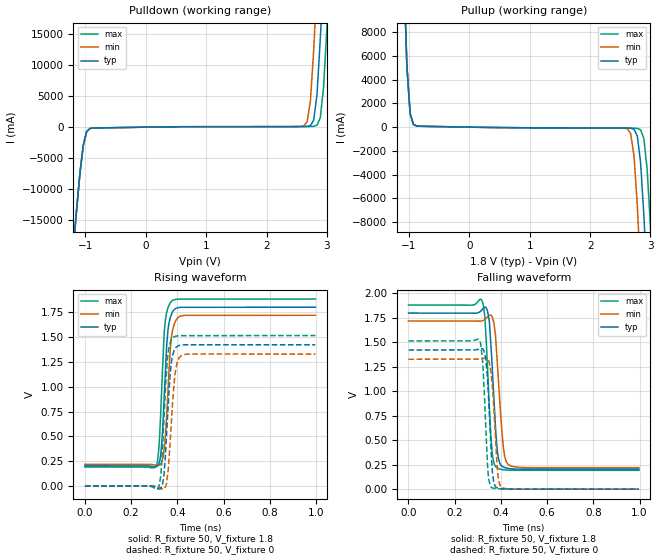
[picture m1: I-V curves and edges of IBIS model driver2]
| IBIS file inv_chain_tr100ps.ibs created by PYS2IBIS3
| Missouri S&T EMC Lab
[IBIS Ver] 7.1
[File Name] inv_chain_tr100ps.ibs
[File Rev] 1.0
[Date] Jul 27, 2026
[Source] Eight-stage inv_chain transistor model characterized with s2ibispy
[Notes] Parameter selection; sim_time=9.970e-10, tr=tf=1.000e-10.
[Component] invchain
[Manufacturer] s2ibispy study
[Package]
| variable   typ   min   max
R_pkg 0 NA NA
L_pkg 0H NA NA
C_pkg 0F NA NA
[Pin]  signal_name   model_name   R_pin   L_pin   C_pin
VSSQ   VSSQ   Gnd
VCCQ   VCCQ   Power
| IN IN dummy
PAD   PAD   driver2
| End of Component
| Models and submodels in the file (1): driver2 (Output)
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[Model] driver2
Model_type Output
Polarity Non-Inverting
Enable Active-High
Vinl  = 0.8V
Vinh  = 2V
C_comp 0.4680pF NA NA
[Temperature Range] 27.0000 27.0000 27.0000
[Voltage Range] 1.8000V 1.7000V 1.9000V
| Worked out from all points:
|   slope of the pulldown table from 0 to 0.27 V, typ, clamps not added: 6.79 ohm
|   slope of the pullup table from 0 to 0.27 V, typ, clamps not added: 12.6 ohm
|   rising waveform, R_fixture 50, V_fixture 1.8: 20-80 % time 20.6ps typ, 22.4ps min, 19.2ps max; typ from 0.204 V to 1.8 V
|   rising waveform, R_fixture 50, V_fixture 0: 20-80 % time 21.7ps typ, 23.4ps min, 20.6ps max; typ from 0 V to 1.42 V
|   falling waveform, R_fixture 50, V_fixture 1.8: 20-80 % time 22.9ps typ, 25.5ps min, 20.9ps max; typ from 1.8 V to 0.204 V
|   falling waveform, R_fixture 50, V_fixture 0: 20-80 % time 18.4ps typ, 20.1ps min, 17.3ps max; typ from 1.42 V to 0 V
[Pulldown]
| Voltage   I(typ)   I(min)   I(max)
-1.8V     -87.88A    -87.88A    -87.88A
-1.2V     -19.4A     -19.4A     -19.4A
-1.036V   -2.952A    -2.948A    -2.955A
-927.3mV  -221.8mA   -216.4mA   -227mA
2.618V    95.77mA    193.1mA    97.15mA
2.727V    244.8mA    4.224A     106.4mA
2.782V    1.151A     12.49A     132.5mA
2.836V    5.27A      23.04A     313.7mA
2.891V    14.25A     33.59A     1.533A
2.946V    24.81A     44.15A     6.464A
3V        35.36A     54.71A     16.02A
3.6V      151.5A     170.8A     132.1A
[Pullup]
| Voltage   I(typ)   I(min)   I(max)
-1.8V     151.4A     151.4A     151.4A
-1.091V   14.2A      14.19A     14.2A
-981.8mV  1.13A      1.129A     1.132A
-872.7mV  99.18mA    97.54mA    100.6mA
2.618V    -78.19mA   -142.5mA   -79.21mA
2.727V    -177.2mA   -2.408A    -86.52mA
2.782V    -728.3mA   -6.523A    -104.6mA
2.836V    -2.952A    -12.18A    -222.3mA
2.891V    -7.391A    -18.4A     -950.7mA
2.946V    -13.22A    -24.62A    -3.561A
3V        -19.44A    -30.85A    -8.297A
3.6V      -87.92A    -99.33A    -76.52A
[Ramp]
| variable   typ   min   max
dV/dt_r 0.8532/0.02166n 0.7968/0.02331n 0.9090/0.02054n
dV/dt_f 0.9575/0.0229n 0.8972/0.02469n 1.0171/0.02135n
R_load = 50
[Rising Waveform]
R_fixture = 50
V_fixture = 1.8
|time   V(typ)   V(min)   V(max)
0s        204.2mV    219.5mV    192.2mV
306.4ps   195.7mV    210.8mV    196.4mV
321.4ps   235.3mV    212.1mV    422.1mV
334.3ps   487.4mV    260.2mV    1.094V
342.3ps   850.9mV    357.8mV    1.518V
357.3ps   1.529V     863mV      1.78V
368.3ps   1.687V     1.343V     1.843V
376.2ps   1.738V     1.528V     1.864V
424.1ps   1.8V       1.717V     1.882V
997ps     1.8V       1.719V     1.882V
[Rising Waveform]
R_fixture = 50
V_fixture = 0
|time   V(typ)   V(min)   V(max)
0s        13.08nV    12.76nV    13.48nV
316.4ps   -25.67mV   -7.364mV   -21.23mV
330.3ps   -15.19mV   -24.36mV   164.1mV
342.3ps   119.8mV    -27.35mV   688.9mV
352.3ps   477.8mV    16.01mV    1.135V
368.3ps   1.117V     430.2mV    1.437V
384.2ps   1.353V     994.6mV    1.5V
397.2ps   1.403V     1.228V     1.51V
427.1ps   1.422V     1.323V     1.515V
997ps     1.422V     1.328V     1.515V
[Falling Waveform]
R_fixture = 50
V_fixture = 1.8
|time   V(typ)   V(min)   V(max)
0s        1.8V       1.719V     1.882V
317.4ps   1.832V     1.72V      1.931V
330.3ps   1.861V     1.734V     1.765V
349.3ps   1.725V     1.776V     865.5mV
362.3ps   1.24V      1.76V      367.1mV
376.2ps   640.8mV    1.582V     233.1mV
383.2ps   414.3mV    1.342V     217.9mV
409.2ps   228.2mV    451.4mV    198.9mV
433.1ps   211.2mV    250.1mV    193.9mV
997ps     204.2mV    219.5mV    192.2mV
[Falling Waveform]
R_fixture = 50
V_fixture = 0
|time   V(typ)   V(min)   V(max)
0s        1.422V     1.328V     1.515V
307.4ps   1.432V     1.33V      1.52V
321.4ps   1.433V     1.335V     1.284V
336.3ps   1.29V      1.341V     531.9mV
345.3ps   1V         1.32V      142.6mV
359.3ps   312.5mV    1.148V     16.58mV
368.3ps   81.33mV    870.6mV    9.288mV
387.2ps   9.844mV    138.9mV    3.749mV
402.2ps   4.779mV    19.08mV    1.741mV
997ps     12.17nV    11.19nV    13.4nV
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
